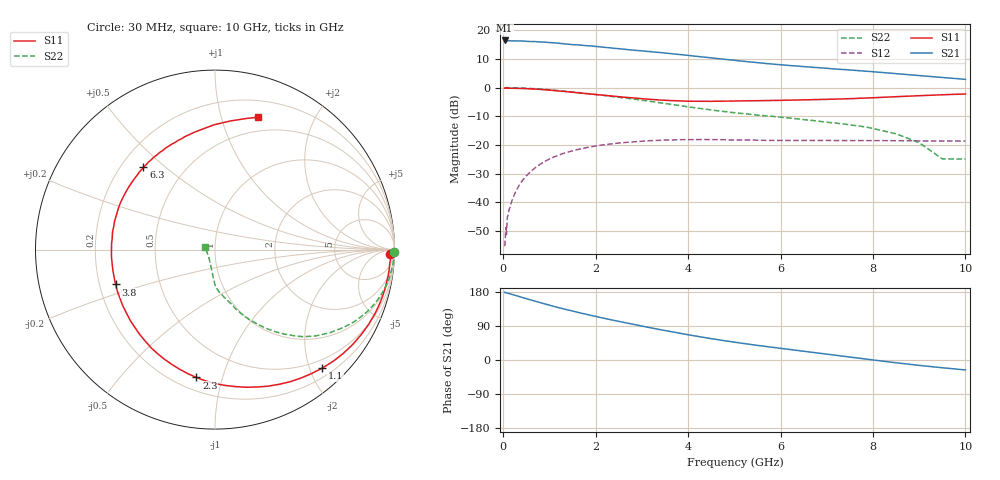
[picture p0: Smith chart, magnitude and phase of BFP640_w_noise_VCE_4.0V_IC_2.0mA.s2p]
! (c) 2013  Infineon Technologies AG, Munich
! Infineon Technologies  Discrete & RF Semiconductors
! BFP640
! VCE =  4.0 V,  IC =  2.0 mA
! Common Emitter S-Parameters:  Apr 2013
# GHz  S  MA  R  50
!  f  S11  S21  S12  S22
! GHz  MAG  ANG  MAG  ANG  MAG  ANG  MAG  ANG
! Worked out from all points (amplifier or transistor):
!   99 points, 30 MHz to 10 GHz, reference 50 ohm
!   highest |S21| = 16.5 dB at 30 MHz (marker M1)
!   |S21| within 3 dB of that: start of sweep to 2.58 GHz
!   unconditionally stable (mu >= 1): 6.166 GHz to end of sweep
!   at 350 MHz: K = 0.04, MSG = 25.2 dB, |S12| = -34.0 dB
!   at 3.5 GHz: K = 0.57, MSG = 15.2 dB, |S12| = -18.3 dB
!   at 10 GHz: K = 1.29, MAG = 7.6 dB, |S12| = -18.7 dB
!   lowest NFmin = 0.53 dB at 450 MHz
!   S11 on the Smith chart (normalised r, x): 30 MHz: 44, -45; 1.1 GHz: 0.35, -2.21; 2.3 GHz: 0.28, -0.83; 3.8 GHz: 0.27, -0.16; 6.3 GHz: 0.29, +0.42; 10 GHz: 0.36, +1.31
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0.03  0.9778 -1.3  6.674 178.4  0.0017 85.2  0.9974 -0.7
0.04  0.9787 -1.7  6.458 178.1  0.0019 74.7  0.9975 -0.9
0.06  0.979 -2.5  6.53 177.4  0.0036 98.9  0.9977 -1.3
0.07  0.9789 -3.0  6.588 177.2  0.0027 89.4  0.9974 -1.5
0.09  0.9775 -3.9  6.581 176.5  0.0056 92.3  0.9981 -2.1
0.3  0.9721 -13.0  6.518 169.1  0.017 83.6  0.9894 -6.9
0.4  0.9669 -17.3  6.535 165.5  0.023 80.3  0.9837 -9.1
0.7  0.9419 -30.4  6.366 154.8  0.0402 72.6  0.9567 -15.7
1.1  0.8903 -47.9  6.076 141.3  0.0616 61.6  0.9019 -23.9
1.7  0.7998 -73.2  5.514 123.3  0.086 47.0  0.806 -34.2
2.1  0.7459 -90.2  5.166 112.2  0.0985 38.3  0.7416 -40.3
2.3  0.72 -98.3  4.967 107.0  0.1032 34.2  0.7103 -42.9
2.8  0.6622 -118.9  4.533 94.5  0.1128 25.4  0.6321 -48.8
3.4  0.6067 -144.5  4.107 80.0  0.1203 15.9  0.5428 -55.5
3.8  0.5872 -160.7  3.798 71.1  0.1229 10.3  0.4893 -59.4
4.4  0.5773 176.7  3.381 58.4  0.1238 2.9  0.4177 -65.1
5.1  0.5863 156.0  2.942 45.3  0.122 -3.7  0.3576 -70.0
6.3  0.6072 131.0  2.405 26.2  0.1194 -11.0  0.2881 -76.6
6.7  0.6173 123.6  2.266 20.1  0.1193 -13.3  0.2665 -79.6
8.5  0.6949 90.6  1.757 -7.3  0.1183 -21.9  0.1562 -93.5
9.5  0.7508 76.6  1.505 -20.5  0.1169 -25.5  0.0569 -126.3
10  0.7751 72.1  1.397 -26.2  0.1167 -26.3  0.0564 165.6
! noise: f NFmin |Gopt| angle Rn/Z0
0.45  0.53  0.6  13  0.24
0.9  0.57  0.61  23  0.23
1.5  0.69  0.53  39  0.22
1.9  0.75  0.48  53  0.21
2.4  0.82  0.45  63  0.2
3.5  0.97  0.38  91  0.18
5.5  1.34  0.35  -173  0.18
10  2.34  0.67  -68  0.71
